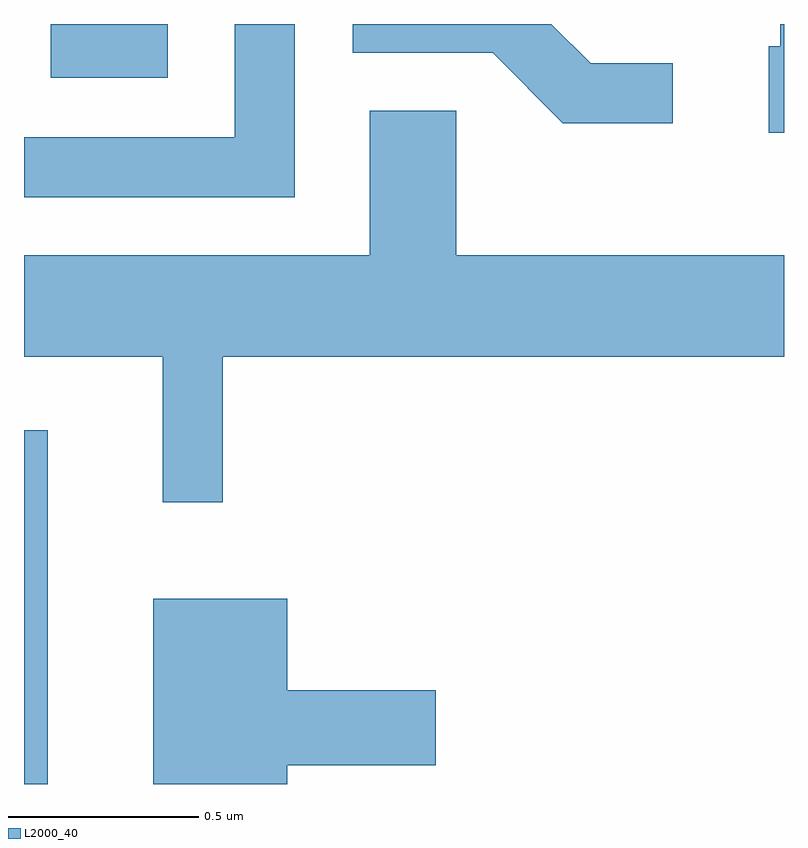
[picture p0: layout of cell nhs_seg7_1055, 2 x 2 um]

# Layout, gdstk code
import gdstk
lib = gdstk.Library(unit=1e-6, precision=1e-09)
def R(c, l, rs):  # rectangles x0, y0, x1, y1
    for r in rs: c.add(gdstk.rectangle(r[:2], r[2:], *l))
def P(c, l, *ps):  # polygons
    for p in ps: c.add(gdstk.Polygon(p, *l))
L2000_40 = (2000, 40)

nhs_seg7_1055 = lib.new_cell('nhs_seg7_1055')
R(nhs_seg7_1055, L2000_40, [(192.611,1764.252,192.674,1765.183), (192.681,1766.111,192.989,1766.252)])
P(nhs_seg7_1055, L2000_40, [(193.324,1766.252),(193.166,1766.252),(193.166,1765.954),(192.611,1765.954),(192.611,1765.796),(193.324,1765.796)],
  [(194.611,1766.252),(194.601,1766.252),(194.601,1766.194),(194.571,1766.194),(194.571,1765.966),(194.611,1765.966)],
  [(194.318,1766.149),(194.102,1766.149),(193.999,1766.252),(193.476,1766.252),(193.476,1766.176),(193.844,1766.176),(194.029,1765.991),(194.318,1765.991)],
  [(193.134,1765.376),(194.611,1765.376),(194.611,1765.644),(193.749,1765.644),(193.749,1766.024),(193.521,1766.024),(193.521,1765.644),(192.611,1765.644),(192.611,1765.376),(192.976,1765.376),(192.976,1764.993),(193.134,1764.993)],
  [(193.304,1764.301),(193.694,1764.301),(193.694,1764.499),(193.304,1764.499),(193.304,1764.739),(192.951,1764.739),(192.951,1764.252),(193.304,1764.252)])

lib.write_gds('nhs_seg7_1055.gds')
